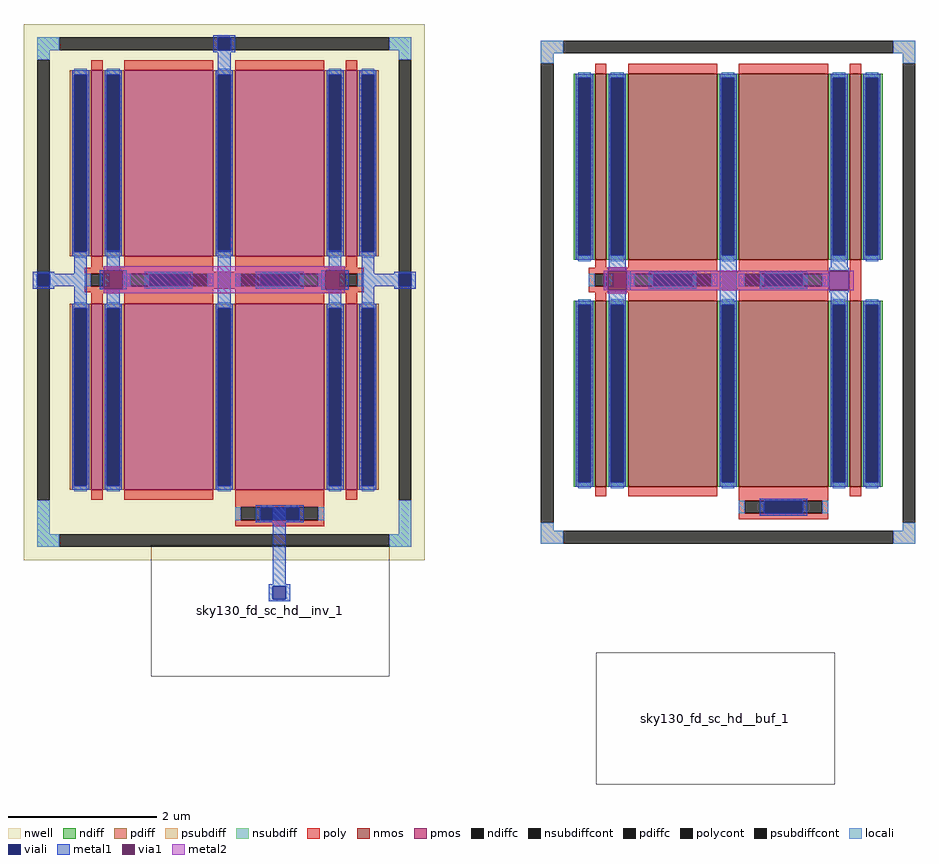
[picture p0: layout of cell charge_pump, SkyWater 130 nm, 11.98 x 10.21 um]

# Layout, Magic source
magic
tech sky130A
magscale 1 2
<< nwell >>
rect -943 -874 135 567
<< psubdiff >>
rect 447 488 507 522
rect 1393 488 1453 522
rect 447 462 481 488
rect 1419 462 1453 488
rect 447 -795 481 -773
rect 1419 -795 1453 -773
rect 447 -829 507 -795
rect 1393 -829 1453 -795
<< nsubdiff >>
rect -907 497 -847 531
rect 39 497 99 531
rect -907 471 -873 497
rect 65 471 99 497
rect -907 -804 -873 -713
rect 65 -804 99 -713
rect -907 -838 -847 -804
rect 39 -838 99 -804
<< psubdiffcont >>
rect 507 488 1393 522
rect 447 -773 481 462
rect 1419 -773 1453 462
rect 507 -829 1393 -795
<< nsubdiffcont >>
rect -847 497 39 531
rect -907 -713 -873 471
rect 65 -713 99 471
rect -847 -838 39 -804
<< poly >>
rect -731 -156 -656 -88
rect -553 -144 -255 -98
rect -151 -154 -79 -88
rect 623 -154 697 -88
rect 865 -144 1035 -98
rect 1277 -150 1307 -86
<< locali >>
rect -907 497 -847 531
rect 39 497 99 531
rect -907 471 -873 497
rect -907 -804 -873 -713
rect 65 471 99 497
rect 65 -804 99 -713
rect -907 -838 -847 -804
rect 39 -838 99 -804
rect 447 488 507 522
rect 1393 488 1453 522
rect 447 462 481 488
rect 447 -795 481 -773
rect 1419 462 1453 488
rect 1419 -795 1453 -773
rect 447 -829 507 -795
rect 1393 -829 1453 -795
<< viali >>
rect -421 497 -387 531
rect -907 -138 -873 -104
rect 65 -138 99 -104
rect -273 -978 -239 -944
<< metal1 >>
rect -433 531 -375 537
rect -433 497 -421 531
rect -387 497 -375 531
rect -433 491 -375 497
rect -421 431 -387 491
rect -388 -37 -387 -7
rect -919 -104 -861 -98
rect -807 -104 -773 -45
rect -719 -94 -685 -41
rect -919 -138 -907 -104
rect -873 -138 -773 -104
rect -919 -144 -861 -138
rect -807 -197 -773 -138
rect -738 -146 -728 -94
rect -676 -146 -666 -94
rect -719 -197 -685 -146
rect -421 -197 -387 -41
rect -123 -95 -89 -41
rect -143 -147 -132 -95
rect -80 -147 -70 -95
rect -35 -104 -1 -45
rect 629 -96 675 -54
rect 53 -104 111 -98
rect -35 -138 65 -104
rect 99 -138 111 -104
rect -123 -197 -89 -147
rect -35 -197 -1 -138
rect 53 -144 111 -138
rect 616 -148 626 -96
rect 678 -148 688 -96
rect 629 -188 675 -148
rect 927 -188 973 -54
rect 1225 -88 1271 -54
rect 1222 -96 1274 -88
rect 1222 -154 1274 -148
rect 1225 -188 1271 -154
rect -273 -938 -239 -732
rect -285 -944 -227 -938
rect -285 -978 -273 -944
rect -239 -978 -227 -944
rect -285 -984 -227 -978
<< via1 >>
rect -728 -146 -676 -94
rect -132 -147 -80 -95
rect 626 -148 678 -96
rect 1222 -148 1274 -96
<< metal2 >>
rect -728 -94 -80 -84
rect -676 -95 -80 -94
rect -676 -146 -132 -95
rect -728 -147 -132 -146
rect 626 -96 678 -86
rect -728 -156 -80 -147
rect 616 -148 626 -96
rect 678 -148 1222 -96
rect 1274 -148 1287 -96
rect 626 -158 678 -148
use sky130_fd_pr__nfet_01v8_8STJTB  sky130_fd_pr__nfet_01v8_8STJTB_1
transform 1 0 801 0 1 153
box -178 -307 178 307
use sky130_fd_pr__nfet_01v8_8STJTB  sky130_fd_pr__nfet_01v8_8STJTB_2
transform 1 0 1099 0 1 153
box -178 -307 178 307
use sky130_fd_pr__nfet_01v8_ALPWAK  sky130_fd_pr__nfet_01v8_ALPWAK_1
transform 1 0 801 0 1 -395
box -178 -307 178 307
use sky130_fd_pr__nfet_01v8_AS47HM  sky130_fd_pr__nfet_01v8_AS47HM_0
transform 1 0 1099 0 1 -426
box -178 -338 178 338
use sky130_fd_pr__nfet_01v8_LLMDSU  sky130_fd_pr__nfet_01v8_LLMDSU_2
transform 1 0 608 0 1 153
box -73 -307 73 307
use sky130_fd_pr__nfet_01v8_Q35DSU  sky130_fd_pr__nfet_01v8_Q35DSU_0
transform 1 0 1292 0 1 184
box -73 -276 73 276
use sky130_fd_pr__nfet_01v8_Q35DSU  sky130_fd_pr__nfet_01v8_Q35DSU_1
transform 1 0 1292 0 1 -426
box -73 -276 73 276
use sky130_fd_pr__nfet_01v8_Q96DSU  sky130_fd_pr__nfet_01v8_Q96DSU_0
transform 1 0 608 0 1 -395
box -73 -307 73 307
use sky130_fd_pr__pfet_01v8_D5QVFZ  sky130_fd_pr__pfet_01v8_D5QVFZ_0
transform 1 0 -255 0 1 157
box -214 -314 214 348
use sky130_fd_pr__pfet_01v8_D5QVFZ  sky130_fd_pr__pfet_01v8_D5QVFZ_1
transform 1 0 -553 0 1 157
box -214 -314 214 348
use sky130_fd_pr__pfet_01v8_KYWVF3  sky130_fd_pr__pfet_01v8_KYWVF3_0
transform 1 0 -255 0 1 -435
box -214 -350 214 350
use sky130_fd_pr__pfet_01v8_LL4HGW  sky130_fd_pr__pfet_01v8_LL4HGW_0
transform 1 0 -746 0 1 -399
box -109 -348 109 314
use sky130_fd_pr__pfet_01v8_LL4HGW  sky130_fd_pr__pfet_01v8_LL4HGW_1
transform 1 0 -62 0 1 -399
box -109 -348 109 314
use sky130_fd_pr__pfet_01v8_LL49CW  sky130_fd_pr__pfet_01v8_LL49CW_0
transform 1 0 -746 0 1 157
box -109 -314 109 348
use sky130_fd_pr__pfet_01v8_LL49CW  sky130_fd_pr__pfet_01v8_LL49CW_1
transform 1 0 -62 0 1 157
box -109 -314 109 348
use sky130_fd_pr__pfet_01v8_UWWVT4  sky130_fd_pr__pfet_01v8_UWWVT4_1
transform 1 0 -553 0 1 -399
box -214 -348 214 314
use sky130_fd_sc_hd__buf_1  x1 $PDKPATH/libs.ref/sky130_fd_sc_hd/mag
transform 0 -1 1188 1 0 -1437
box -38 -48 314 592
use sky130_fd_sc_hd__inv_1  x2 $PDKPATH/libs.ref/sky130_fd_sc_hd/mag
transform 0 -1 -8 1 0 -1148
box -38 -48 314 592
<< end >>

# cell sky130_fd_pr__nfet_01v8_8STJTB: kit device sky130_fd_pr__nfet_01v8, w 2.5 l 1.2 m 1 nf 1 diffcov 100 polycov 100 guard 0 glc 1 grc 1 gtc 1 gbc 1 tbcov 100 rlcov 100 topc 0 botc 1 poverlap 0 doverlap 1 lmin 0.15 wmin 0.42 compatible {sky130_fd_pr__nfet_01v8 sky130_fd_pr__nfet_01v8_lvt sky130_fd_bs_flash__special_sonosfet_star sky130_fd_pr__nfet_g5v0d10v5 sky130_fd_pr__nfet_05v0_nvt sky130_fd_pr__nfet_03v3_nvt} full_metal 1 viasrc 100 viadrn 100 viagate 50 viagb 0 viagr 0 viagl 0 viagt 0

# cell sky130_fd_pr__nfet_01v8_ALPWAK: kit device sky130_fd_pr__nfet_01v8, w 2.5 l 1.2 m 1 nf 1 diffcov 100 polycov 100 guard 0 glc 1 grc 1 gtc 1 gbc 1 tbcov 100 rlcov 100 topc 1 botc 0 poverlap 0 doverlap 1 lmin 0.15 wmin 0.42 compatible {sky130_fd_pr__nfet_01v8 sky130_fd_pr__nfet_01v8_lvt sky130_fd_bs_flash__special_sonosfet_star sky130_fd_pr__nfet_g5v0d10v5 sky130_fd_pr__nfet_05v0_nvt sky130_fd_pr__nfet_03v3_nvt} full_metal 1 viasrc 100 viadrn 100 viagate 50 viagb 0 viagr 0 viagl 0 viagt 0

# cell sky130_fd_pr__nfet_01v8_AS47HM: kit device sky130_fd_pr__nfet_01v8, w 2.5 l 1.2 m 1 nf 1 diffcov 100 polycov 100 guard 0 glc 1 grc 1 gtc 1 gbc 1 tbcov 100 rlcov 100 topc 1 botc 1 poverlap 0 doverlap 1 lmin 0.15 wmin 0.42 compatible {sky130_fd_pr__nfet_01v8 sky130_fd_pr__nfet_01v8_lvt sky130_fd_bs_flash__special_sonosfet_star sky130_fd_pr__nfet_g5v0d10v5 sky130_fd_pr__nfet_05v0_nvt sky130_fd_pr__nfet_03v3_nvt} full_metal 1 viasrc 100 viadrn 100 viagate 50 viagb 0 viagr 0 viagl 0 viagt 0

# cell sky130_fd_pr__nfet_01v8_LLMDSU: kit device sky130_fd_pr__nfet_01v8, w 2.5 l 0.15 m 1 nf 1 diffcov 100 polycov 100 guard 0 glc 1 grc 1 gtc 1 gbc 1 tbcov 100 rlcov 100 topc 0 botc 1 poverlap 0 doverlap 1 lmin 0.15 wmin 0.42 compatible {sky130_fd_pr__nfet_01v8 sky130_fd_pr__nfet_01v8_lvt sky130_fd_bs_flash__special_sonosfet_star sky130_fd_pr__nfet_g5v0d10v5 sky130_fd_pr__nfet_05v0_nvt sky130_fd_pr__nfet_03v3_nvt} full_metal 1 viasrc 100 viadrn 100 viagate 0 viagb 0 viagr 0 viagl 0 viagt 0

# cell sky130_fd_pr__nfet_01v8_Q35DSU: kit device sky130_fd_pr__nfet_01v8, w 2.5 l 0.15 m 1 nf 1 diffcov 100 polycov 100 guard 0 glc 1 grc 1 gtc 1 gbc 1 tbcov 100 rlcov 100 topc 0 botc 0 poverlap 0 doverlap 1 lmin 0.15 wmin 0.42 compatible {sky130_fd_pr__nfet_01v8 sky130_fd_pr__nfet_01v8_lvt sky130_fd_bs_flash__special_sonosfet_star sky130_fd_pr__nfet_g5v0d10v5 sky130_fd_pr__nfet_05v0_nvt sky130_fd_pr__nfet_03v3_nvt} full_metal 1 viasrc 100 viadrn 100 viagate 0 viagb 0 viagr 0 viagl 0 viagt 0

# cell sky130_fd_pr__nfet_01v8_Q96DSU: kit device sky130_fd_pr__nfet_01v8, w 2.5 l 0.15 m 1 nf 1 diffcov 100 polycov 100 guard 0 glc 1 grc 1 gtc 1 gbc 1 tbcov 100 rlcov 100 topc 1 botc 0 poverlap 0 doverlap 1 lmin 0.15 wmin 0.42 compatible {sky130_fd_pr__nfet_01v8 sky130_fd_pr__nfet_01v8_lvt sky130_fd_bs_flash__special_sonosfet_star sky130_fd_pr__nfet_g5v0d10v5 sky130_fd_pr__nfet_05v0_nvt sky130_fd_pr__nfet_03v3_nvt} full_metal 1 viasrc 100 viadrn 100 viagate 0 viagb 0 viagr 0 viagl 0 viagt 0

# cell sky130_fd_pr__pfet_01v8_D5QVFZ: kit device sky130_fd_pr__pfet_01v8, w 2.5 l 1.2 m 1 nf 1 diffcov 100 polycov 100 guard 0 glc 1 grc 1 gtc 1 gbc 1 tbcov 100 rlcov 100 topc 0 botc 1 poverlap 0 doverlap 1 lmin 0.15 wmin 0.42 compatible {sky130_fd_pr__pfet_01v8 sky130_fd_pr__pfet_01v8_lvt sky130_fd_pr__pfet_01v8_hvt sky130_fd_pr__pfet_g5v0d10v5} full_metal 1 viasrc 100 viadrn 100 viagate 50 viagb 0 viagr 0 viagl 0 viagt 0

# cell sky130_fd_pr__pfet_01v8_KYWVF3: kit device sky130_fd_pr__pfet_01v8, w 2.5 l 1.2 m 1 nf 1 diffcov 100 polycov 100 guard 0 glc 1 grc 1 gtc 1 gbc 1 tbcov 100 rlcov 100 topc 1 botc 1 poverlap 0 doverlap 1 lmin 0.15 wmin 0.42 compatible {sky130_fd_pr__pfet_01v8 sky130_fd_pr__pfet_01v8_lvt sky130_fd_pr__pfet_01v8_hvt sky130_fd_pr__pfet_g5v0d10v5} full_metal 1 viasrc 100 viadrn 100 viagate 50 viagb 0 viagr 0 viagl 0 viagt 0

# cell sky130_fd_pr__pfet_01v8_LL4HGW: kit device sky130_fd_pr__pfet_01v8, w 2.5 l 0.15 m 1 nf 1 diffcov 100 polycov 100 guard 0 glc 1 grc 1 gtc 1 gbc 1 tbcov 100 rlcov 100 topc 1 botc 0 poverlap 0 doverlap 1 lmin 0.15 wmin 0.42 compatible {sky130_fd_pr__pfet_01v8 sky130_fd_pr__pfet_01v8_lvt sky130_fd_pr__pfet_01v8_hvt sky130_fd_pr__pfet_g5v0d10v5} full_metal 1 viasrc 100 viadrn 100 viagate 0 viagb 0 viagr 0 viagl 0 viagt 0

# cell sky130_fd_pr__pfet_01v8_LL49CW: kit device sky130_fd_pr__pfet_01v8, w 2.5 l 0.15 m 1 nf 1 diffcov 100 polycov 100 guard 0 glc 1 grc 1 gtc 1 gbc 1 tbcov 100 rlcov 100 topc 0 botc 1 poverlap 0 doverlap 1 lmin 0.15 wmin 0.42 compatible {sky130_fd_pr__pfet_01v8 sky130_fd_pr__pfet_01v8_lvt sky130_fd_pr__pfet_01v8_hvt sky130_fd_pr__pfet_g5v0d10v5} full_metal 1 viasrc 100 viadrn 100 viagate 0 viagb 0 viagr 0 viagl 0 viagt 0

# cell sky130_fd_pr__pfet_01v8_UWWVT4: kit device sky130_fd_pr__pfet_01v8, w 2.5 l 1.2 m 1 nf 1 diffcov 100 polycov 100 guard 0 glc 1 grc 1 gtc 1 gbc 1 tbcov 100 rlcov 100 topc 1 botc 0 poverlap 0 doverlap 1 lmin 0.15 wmin 0.42 compatible {sky130_fd_pr__pfet_01v8 sky130_fd_pr__pfet_01v8_lvt sky130_fd_pr__pfet_01v8_hvt sky130_fd_pr__pfet_g5v0d10v5} full_metal 1 viasrc 100 viadrn 100 viagate 50 viagb 0 viagr 0 viagl 0 viagt 0
